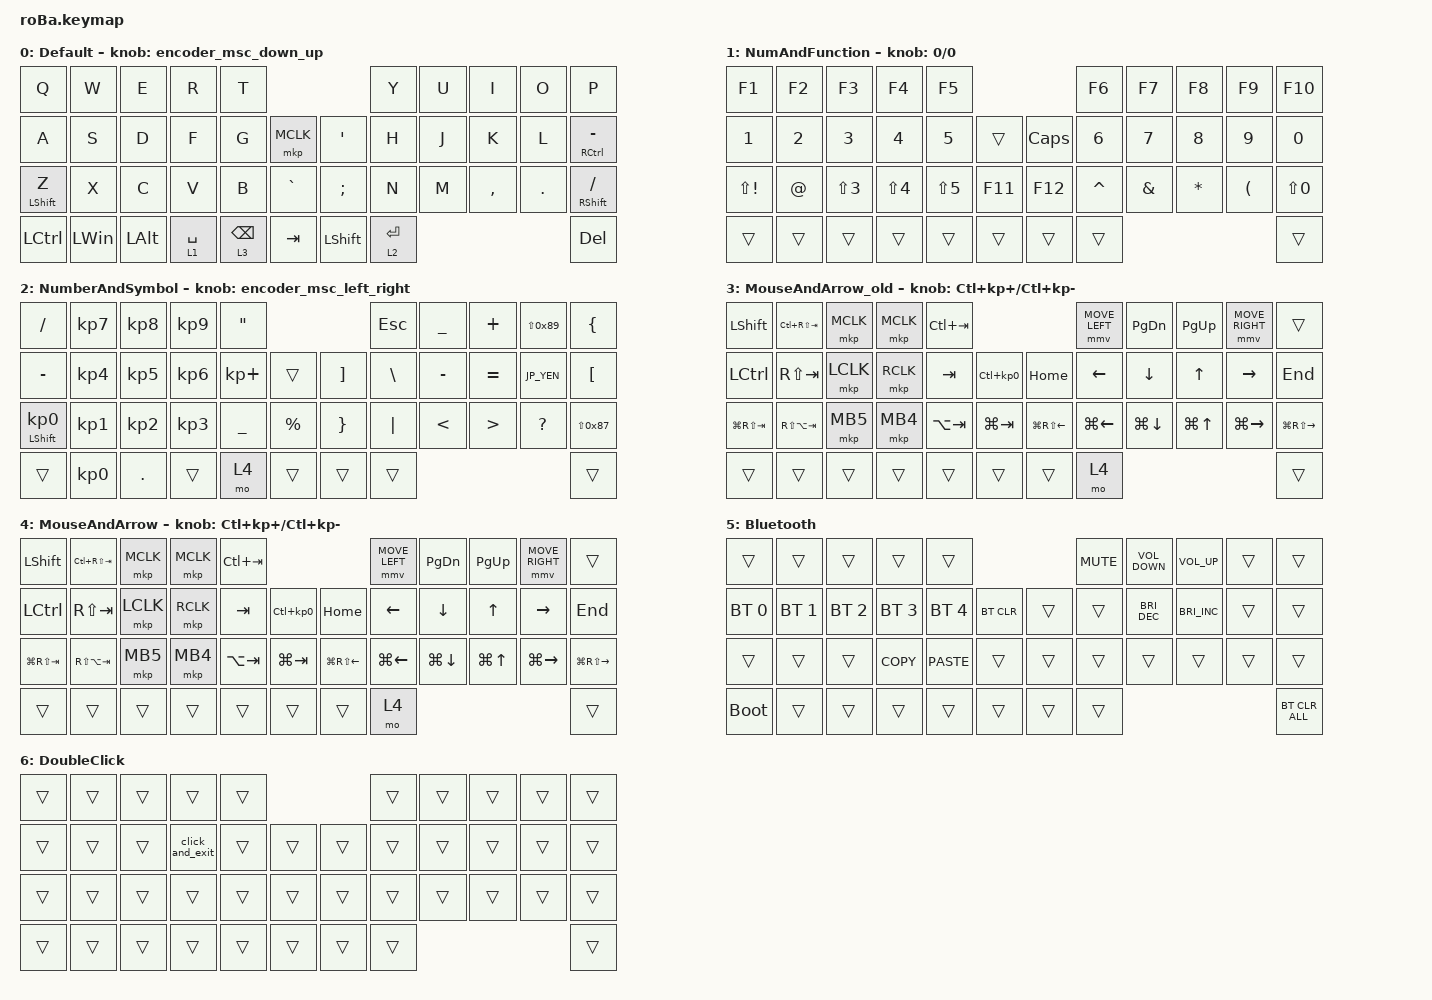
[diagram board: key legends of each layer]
// OS設定を日本語キーボードのまま使用するための変換定義

#define JP_DQUOTE       AT                // "
#define JP_AMPERSAND    CARET             // &
#define JP_QUOTE        AMPERSAND         // '
#define JP_EQUAL        UNDER             // =
#define JP_CARET        EQUAL             // ^
#define JP_YEN          0x89              // ¥
#define JP_PLUS         COLON             // +
#define JP_TILDE        PLUS              // ~
#define JP_PIPE         LS(0x89)          // |
#define JP_AT           LEFT_BRACKET      // @
#define JP_COLON        SINGLE_QUOTE      // :
#define JP_ASTERISK     DOUBLE_QUOTES     // *
#define JP_BACKQUOTE    LEFT_BRACE        // `
#define JP_UNDERSCORE   LS(0x87)          // _
#define JP_LBRACKET     RIGHT_BRACKET     // [
#define JP_RBRACKET     BACKSLASH         // ]
#define JP_LPAREN       ASTERISK          // (
#define JP_RPAREN       LEFT_PARENTHESIS  // )
#define JP_LBRACE       RIGHT_BRACE       // {
#define JP_RBRACE       PIPE              // }
#define JP_KANA         LANGUAGE_1        // かな
#define JP_EISU         LANGUAGE_2        // 英数
#define JP_HANZEN       GRAVE             // 半角/全角
#define ZMK_POINTING_DEFAULT_SCRL_VAL 80

#include <behaviors.dtsi>
#include <dt-bindings/zmk/bt.h>
#include <dt-bindings/zmk/keys.h>
#include <dt-bindings/zmk/pointing.h>

&mt {
    flavor = "balanced";
    quick-tap-ms = <300>;
};

&trackball {
    // automouse-layer = <0>;
    // scroll-layers = <0>;
    // arrows {
    //     layers = <2>;
    //     bindings =
    //         <&kp RIGHT_ARROW>,
    //         <&kp LEFT_ARROW>,
    //         <&kp UP_ARROW>,
    //         <&kp DOWN_ARROW>;
    //     tick = <10>;
    //     wait-ms = <5>;
    //     tap-ms = <5>;
    // };
};

/ {
    combos {
        compatible = "zmk,combos";

        tab {
            bindings = <&kp TAB>;
            key-positions = <11 12>;
        };

        shift_tab {
            bindings = <&kp LS(TAB)>;
            key-positions = <12 13>;
        };

        muhennkann {
            bindings = <&to_layer_0 INT_MUHENKAN>;
            key-positions = <11 10>;
        };

        double_quotation {
            bindings = <&kp DOUBLE_QUOTES>;
            key-positions = <20 21>;
        };

        eq {
            bindings = <&kp EQUAL>;
            key-positions = <24 25>;
        };

        EE {
            bindings = <&kp ESCAPE>;
            key-positions = <0 1>;
        };
    };

    macros {
        to_layer_0: to_layer_0 {
            compatible = "zmk,behavior-macro-one-param";
            #binding-cells = <1>;
            bindings = <&to 0 &macro_param_1to1 &kp MACRO_PLACEHOLDER>;
            label = "TO_LAYER_0";
        };

        click_and_exit: click_and_exit {
            label = "CLICK_AND_EXIT";
            compatible = "zmk,behavior-macro";
            #binding-cells = <0>;
            bindings =
                <&macro_press>,
                <&mkp MB1>,
                <&macro_pause_for_release>,
                <&macro_release>,
                <&mkp MB1>,
                <&macro_tap>,
                <&to 0>,
                <&macro_tap>,
                <&sl_mouse 0>;
        };
    };

    behaviors {
        lt_to_layer_0: lt_to_layer_0 {
            compatible = "zmk,behavior-hold-tap";
            label = "LAYER_TAP_TO_0";
            bindings = <&mo>, <&to_layer_0>;

            #binding-cells = <2>;
            tapping-term-ms = <200>;
        };

        encoder_msc_up_down: encoder_msc_up_down {
            compatible = "zmk,behavior-sensor-rotate";
            label = "ENCODER_MSC_UP_DOWN";
            #sensor-binding-cells = <0>;
            bindings = <&msc SCRL_UP>, <&msc SCRL_DOWN>;

            tap-ms = <20>;
        };

        encoder_msc_down_up: encoder_msc_down_up {
            compatible = "zmk,behavior-sensor-rotate";
            label = "ENCODER_MSC_DOWN_UP";
            #sensor-binding-cells = <0>;
            bindings = <&msc SCRL_DOWN>, <&msc SCRL_UP>;

            tap-ms = <20>;
        };

        sl_mouse: sticky_layer_for_mouse {
            compatible = "zmk,behavior-sticky-key";
            #binding-cells = <1>;
            bindings = <&mo>;
            release-after-ms = <200>; // 200msだけクリック用レイヤに移動する（必要に応じて時間を変更）
            quick-release;
            ignore-modifiers;
        };

        encoder_msc_left_right: encoder_msc_left_right {
            compatible = "zmk,behavior-sensor-rotate";
            label = "ENCODER_MSC_LEFT_RIGHT";
            #sensor-binding-cells = <0>;
            bindings = <&msc SCRL_LEFT>, <&msc SCRL_RIGHT>;

            tap-ms = <20>;
        };
    };

    keymap {
        compatible = "zmk,keymap";

        Default {
            bindings = <
&kp Q         &kp W         &kp E         &kp R        &kp T                                               &kp Y        &kp U  &kp I      &kp O    &kp P
&kp A         &kp S         &kp D         &kp F        &kp G            &mkp MCLK          &kp JP_COLON    &kp H        &kp J  &kp K      &kp L    &mt RCTRL MINUS
&mt LSHIFT Z  &kp X         &kp C         &kp V        &kp B            &kp JP_HANZEN      &kp SEMICOLON   &kp N        &kp M  &kp COMMA  &kp DOT  &mt RSHIFT SLASH
&kp LCTRL     &kp LEFT_WIN  &kp LEFT_ALT  &lt 1 SPACE  &lt 3 BACKSPACE  &kp TAB            &kp LEFT_SHIFT  &lt 2 ENTER                             &kp DELETE
            >;

            sensor-bindings = <&encoder_msc_down_up>;
        };

        NumAndFunction {
            bindings = <
&kp F1               &kp F2         &kp F3            &kp F4            &kp F5                                 &kp F6            &kp F7        &kp F8         &kp F9         &kp F10
&kp NUMBER_1         &kp NUMBER_2   &kp NUMBER_3      &kp NUMBER_4      &kp N5      &trans       &kp CAPSLOCK  &kp NUMBER_6      &kp N7        &kp N8         &kp N9         &kp N0
&kp LS(EXCLAMATION)  &kp JP_DQUOTE  &kp LS(NUMBER_3)  &kp LS(NUMBER_4)  &kp LS(N5)  &kp F11      &kp F12       &kp JP_AMPERSAND  &kp JP_QUOTE  &kp JP_LPAREN  &kp JP_RPAREN  &kp LS(N0)
&trans               &trans         &trans            &trans            &trans      &trans       &trans        &trans                                                        &trans
            >;

            sensor-bindings = <&inc_dec_kp 0 0>;
        };

        NumberAndSymbol {
            bindings = <
&kp SLASH                   &kp KP_NUMBER_7  &kp KP_NUMBER_8  &kp KP_NUMBER_9  &kp JP_ASTERISK                                    &kp ESCAPE       &kp JP_EQUAL   &kp JP_TILDE      &kp JP_PIPE   &kp JP_BACKQUOTE
&kp MINUS                   &kp KP_NUMBER_4  &kp KP_NUMBER_5  &kp KP_NUMBER_6  &kp KP_PLUS      &trans           &kp JP_LBRACKET  &kp JP_RBRACKET  &kp MINUS      &kp JP_CARET      &kp JP_YEN    &kp JP_AT
&mt LEFT_SHIFT KP_NUMBER_0  &kp KP_NUMBER_1  &kp KP_NUMBER_2  &kp KP_NUMBER_3  &kp JP_EQUAL     &kp PERCENT      &kp JP_LBRACE    &kp JP_RBRACE    &kp LESS_THAN  &kp GREATER_THAN  &kp QUESTION  &kp JP_UNDERSCORE
&trans                      &kp KP_NUMBER_0  &kp PERIOD       &trans           &mo 4            &trans           &trans           &trans                                                          &trans
            >;

            sensor-bindings = <&encoder_msc_left_right>;
        };

        MouseAndArrow_old {
            bindings = <
&kp LEFT_SHIFT   &kp LC(RS(TAB))  &mkp MCLK  &mkp MCLK  &kp LC(TAB)                                                   &mmv MOVE_LEFT      &kp PAGE_DOWN       &kp PAGE_UP       &mmv MOVE_RIGHT      &trans
&kp LCTRL        &kp RS(TAB)      &mkp LCLK  &mkp RCLK  &kp TAB      &kp LC(KP_NUMBER_0)      &kp HOME                &kp LEFT_ARROW      &kp DOWN_ARROW      &kp UP_ARROW      &kp RIGHT_ARROW      &kp END
&kp LG(RS(TAB))  &kp RS(LA(TAB))  &mkp MB5   &mkp MB4   &kp LA(TAB)  &kp LG(TAB)              &kp LG(RS(LEFT_ARROW))  &kp LG(LEFT_ARROW)  &kp LG(DOWN_ARROW)  &kp LG(UP_ARROW)  &kp LG(RIGHT_ARROW)  &kp LG(RS(RIGHT_ARROW))
&trans           &trans           &trans     &trans     &trans       &trans                   &trans                  &mo 4                                                                          &trans
            >;

            sensor-bindings = <&inc_dec_kp LC(KP_PLUS) LC(KP_MINUS)>;
        };

        MouseAndArrow {
            bindings = <
&kp LEFT_SHIFT   &kp LC(RS(TAB))  &mkp MCLK  &mkp MCLK  &kp LC(TAB)                                                   &mmv MOVE_LEFT      &kp PAGE_DOWN       &kp PAGE_UP       &mmv MOVE_RIGHT      &trans
&kp LCTRL        &kp RS(TAB)      &mkp LCLK  &mkp RCLK  &kp TAB      &kp LC(KP_NUMBER_0)      &kp HOME                &kp LEFT_ARROW      &kp DOWN_ARROW      &kp UP_ARROW      &kp RIGHT_ARROW      &kp END
&kp LG(RS(TAB))  &kp RS(LA(TAB))  &mkp MB5   &mkp MB4   &kp LA(TAB)  &kp LG(TAB)              &kp LG(RS(LEFT_ARROW))  &kp LG(LEFT_ARROW)  &kp LG(DOWN_ARROW)  &kp LG(UP_ARROW)  &kp LG(RIGHT_ARROW)  &kp LG(RS(RIGHT_ARROW))
&trans           &trans           &trans     &trans     &trans       &trans                   &trans                  &mo 4                                                                          &trans
            >;

            sensor-bindings = <&inc_dec_kp LC(KP_PLUS) LC(KP_MINUS)>;
        };

        Bluetooth {
            bindings = <
&trans        &trans        &trans        &trans        &trans                                &kp K_MUTE  &kp C_VOLUME_DOWN     &kp C_VOLUME_UP       &trans  &trans
&bt BT_SEL 0  &bt BT_SEL 1  &bt BT_SEL 2  &bt BT_SEL 3  &bt BT_SEL 4  &bt BT_CLR      &trans  &trans      &kp C_BRIGHTNESS_DEC  &kp C_BRIGHTNESS_INC  &trans  &trans
&trans        &trans        &trans        &kp K_COPY    &kp K_PASTE   &trans          &trans  &trans      &trans                &trans                &trans  &trans
&bootloader   &trans        &trans        &trans        &trans        &trans          &trans  &trans                                                          &bt BT_CLR_ALL
            >;
        };

        DoubleClick {
            bindings = <
&trans  &trans  &trans  &trans           &trans                      &trans  &trans  &trans  &trans  &trans
&trans  &trans  &trans  &click_and_exit  &trans  &trans      &trans  &trans  &trans  &trans  &trans  &trans
&trans  &trans  &trans  &trans           &trans  &trans      &trans  &trans  &trans  &trans  &trans  &trans
&trans  &trans  &trans  &trans           &trans  &trans      &trans  &trans                          &trans
            >;
        };
    };
};
